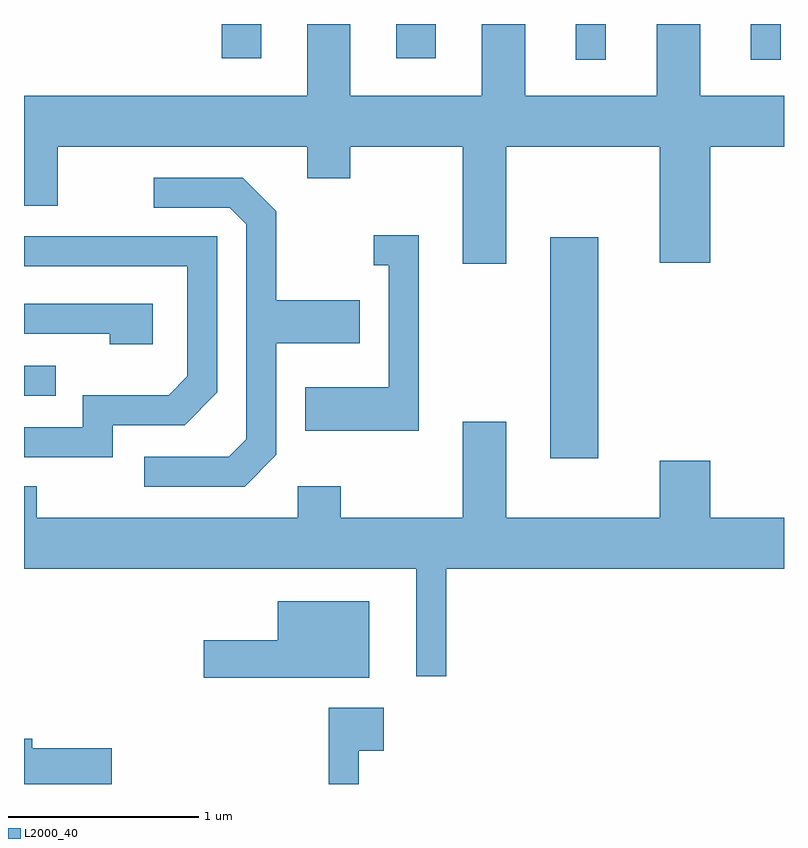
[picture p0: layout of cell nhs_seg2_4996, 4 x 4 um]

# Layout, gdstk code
import gdstk
lib = gdstk.Library(unit=1e-6, precision=1e-09)
def R(c, l, rs):  # rectangles x0, y0, x1, y1
    for r in rs: c.add(gdstk.rectangle(r[:2], r[2:], *l))
def P(c, l, *ps):  # polygons
    for p in ps: c.add(gdstk.Polygon(p, *l))
L2000_40 = (2000, 40)

nhs_seg2_4996 = lib.new_cell('nhs_seg2_4996')
R(nhs_seg2_4996, L2000_40, [(334.381,1095.516,334.634,1096.679), (331.611,1095.846,331.778,1096.004), (334.516,1097.613,334.674,1097.802), (335.436,1097.613,335.594,1097.802), (332.651,1097.621,332.859,1097.802), (333.571,1097.621,333.779,1097.802)])
P(nhs_seg2_4996, L2000_40, [(334.149,1097.156),(334.956,1097.156),(334.956,1096.546),(335.224,1096.546),(335.224,1097.156),(335.611,1097.156),(335.611,1097.424),(335.169,1097.424),(335.169,1097.802),(334.941,1097.802),(334.941,1097.424),(334.249,1097.424),(334.249,1097.802),(334.021,1097.802),(334.021,1097.424),(333.329,1097.424),(333.329,1097.802),(333.101,1097.802),(333.101,1097.424),(331.611,1097.424),(331.611,1096.846),(331.789,1096.846),(331.789,1097.156),(333.101,1097.156),(333.101,1096.991),(333.329,1096.991),(333.329,1097.156),(333.921,1097.156),(333.921,1096.541),(334.149,1096.541)],
  [(332.939,1095.534),(332.939,1096.121),(333.379,1096.121),(333.379,1096.349),(332.939,1096.349),(332.939,1096.817),(332.762,1096.994),(332.293,1096.994),(332.293,1096.836),(332.694,1096.836),(332.781,1096.749),(332.781,1095.617),(332.689,1095.524),(332.243,1095.524),(332.243,1095.366),(332.772,1095.366)],
  [(333.689,1096.689),(333.453,1096.689),(333.453,1096.531),(333.531,1096.531),(333.531,1095.889),(333.091,1095.889),(333.091,1095.661),(333.689,1095.661)],
  [(332.079,1095.691),(332.457,1095.691),(332.629,1095.864),(332.629,1096.684),(331.611,1096.684),(331.611,1096.526),(332.471,1096.526),(332.471,1095.947),(332.374,1095.849),(331.921,1095.849),(331.921,1095.679),(331.611,1095.679),(331.611,1095.521),(332.079,1095.521)],
  [(332.289,1096.329),(331.611,1096.329),(331.611,1096.171),(332.061,1096.171),(332.061,1096.116),(332.289,1096.116)],
  [(333.834,1094.936),(335.611,1094.936),(335.611,1095.204),(335.224,1095.204),(335.224,1095.504),(334.956,1095.504),(334.956,1095.204),(334.149,1095.204),(334.149,1095.709),(333.921,1095.709),(333.921,1095.204),(333.279,1095.204),(333.279,1095.369),(333.051,1095.369),(333.051,1095.204),(331.679,1095.204),(331.679,1095.369),(331.611,1095.369),(331.611,1094.936),(333.676,1094.936),(333.676,1094.368),(333.834,1094.368)],
  [(333.429,1094.764),(332.946,1094.764),(332.946,1094.559),(332.556,1094.559),(332.556,1094.361),(333.429,1094.361)],
  [(333.374,1093.976),(333.504,1093.976),(333.504,1094.204),(333.216,1094.204),(333.216,1093.802),(333.374,1093.802)],
  [(332.074,1093.989),(331.654,1093.989),(331.654,1094.039),(331.611,1094.039),(331.611,1093.802),(332.074,1093.802)])

lib.write_gds('nhs_seg2_4996.gds')
